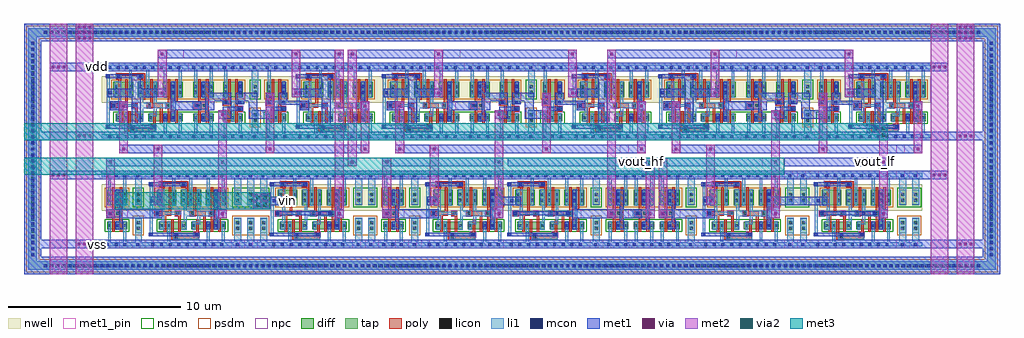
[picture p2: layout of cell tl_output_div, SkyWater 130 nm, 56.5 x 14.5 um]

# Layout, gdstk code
from math import pi, radians
import gdstk
lib = gdstk.Library(unit=1e-6, precision=1e-09)
def R(c, l, rs):  # rectangles x0, y0, x1, y1
    for r in rs: c.add(gdstk.rectangle(r[:2], r[2:], *l))
def A(c, l, x, y, w, h, nx, ny, dx, dy):  # array of equal rectangles
    R(c, l, [(x+i*dx, y+j*dy, x+i*dx+w, y+j*dy+h) for i in range(nx) for j in range(ny)])
nwell = (64, 20)
diff = (65, 20)
tap = (65, 44)
poly = (66, 20)
licon = (66, 44)
li1 = (67, 20)
mcon = (67, 44)
met1_pin = (68, 16)
met1 = (68, 20)
via = (68, 44)
met2 = (69, 20)
via2 = (69, 44)
met3 = (70, 20)
nsdm = (93, 44)
psdm = (94, 20)
npc = (95, 20)

sky130_fd_pr__pfet_01v8_ = lib.new_cell('sky130_fd_pr__pfet_01v8_scc_inv_m1')
R(sky130_fd_pr__pfet_01v8_, nwell, [(6.85,-4.65,8.38,-3.13)])
R(sky130_fd_pr__pfet_01v8_, diff, [(7.03,-4.34,8.2,-3.44)])
R(sky130_fd_pr__pfet_01v8_, poly, [(7.32,-4.565,7.91,-4.415), (7.32,-4.415,7.47,-3.31), (7.76,-4.415,7.91,-3.31)])
A(sky130_fd_pr__pfet_01v8_, licon, 7.09, -4.145, 0.17, 0.17, 3, 2, 0.44, 0.34)
A(sky130_fd_pr__pfet_01v8_, li1, 7.09, -4.36, 0.17, 0.94, 3, 1, 0.44, 0)
R(sky130_fd_pr__pfet_01v8_, mcon, [(7.53,-4.155,7.7,-3.985), (7.53,-3.795,7.7,-3.625)])
R(sky130_fd_pr__pfet_01v8_, met1, [(7.5,-4.34,7.73,-3.44)])
R(sky130_fd_pr__pfet_01v8_, psdm, [(6.905,-4.465,8.325,-3.315)])
sky130_fd_pr__pfet_01v8_.add(gdstk.Label('D0', (7.615,-3.89), layer=67, texttype=5))
sky130_fd_pr__pfet_01v8_.add(gdstk.Label('S0', (7.175,-3.89), layer=67, texttype=5))
sky130_fd_pr__pfet_01v8_.add(gdstk.Label('D1', (7.615,-3.89), layer=67, texttype=5))
sky130_fd_pr__pfet_01v8_.add(gdstk.Label('S1', (8.055,-3.89), layer=67, texttype=5))

sky130_fd_pr__nfet_01v8_ = lib.new_cell('sky130_fd_pr__nfet_01v8_scc_inv_m2')
R(sky130_fd_pr__nfet_01v8_, diff, [(7.265,-4.22,8.435,-3.77)])
R(sky130_fd_pr__nfet_01v8_, poly, [(7.555,-4.35,7.705,-3.695), (7.995,-4.35,8.145,-3.695), (7.555,-3.695,8.145,-3.545)])
A(sky130_fd_pr__nfet_01v8_, licon, 7.325, -4.08, 0.17, 0.17, 3, 1, 0.44, 0)
A(sky130_fd_pr__nfet_01v8_, li1, 7.325, -4.24, 0.17, 0.49, 3, 1, 0.44, 0)
R(sky130_fd_pr__nfet_01v8_, mcon, [(7.765,-4.08,7.935,-3.91)])
R(sky130_fd_pr__nfet_01v8_, met1, [(7.735,-4.22,7.965,-3.77)])
R(sky130_fd_pr__nfet_01v8_, nsdm, [(7.14,-4.345,8.56,-3.645)])
sky130_fd_pr__nfet_01v8_.add(gdstk.Label('D0', (7.85,-3.995), layer=67, texttype=5))
sky130_fd_pr__nfet_01v8_.add(gdstk.Label('S0', (7.41,-3.995), layer=67, texttype=5))
sky130_fd_pr__nfet_01v8_.add(gdstk.Label('D1', (7.85,-3.995), layer=67, texttype=5))
sky130_fd_pr__nfet_01v8_.add(gdstk.Label('S1', (8.29,-3.995), layer=67, texttype=5))

sc_not = lib.new_cell('sc_not')
R(sc_not, nwell, [(2.75,-3.815,4.5,-2.295)])
R(sc_not, poly, [(3.075,-4.23,3.935,-3.73)])
R(sc_not, licon, [(3.25,-4.065,3.42,-3.895), (3.59,-4.065,3.76,-3.895)])
R(sc_not, li1, [(2.75,-5.885,4.5,-5.635), (3.115,-5.635,3.285,-4.925), (3.995,-5.635,4.165,-4.925), (3.03,-4.225,3.885,-4.145), (3,-4.145,3.885,-3.815), (3.03,-3.815,3.885,-3.735), (3.115,-2.585,3.285,-1.875), (3.995,-2.585,4.165,-1.875), (2.75,-1.875,4.5,-1.625)])
A(sc_not, mcon, 3, -5.875, 0.17, 0.17, 3, 2, 0.5, 4)
R(sc_not, mcon, [(3.165,-4.065,3.335,-3.895)])
R(sc_not, met1_pin, [(2.75,-6,3.25,-5.5), (3,-4.25,3.5,-3.75), (3.75,-4.25,4.25,-3.75), (2.75,-2,3.25,-1.5)])
R(sc_not, met1, [(2.75,-6,4.5,-5.5), (3.75,-4.905,3.98,-4.25), (3,-4.25,3.5,-3.75), (3.75,-4.25,4.25,-3.75), (3.75,-3.75,3.98,-2.605), (2.75,-2,4.5,-1.5)])
R(sc_not, npc, [(3.15,-4.165,3.86,-3.795)])
sc_not.add(gdstk.Reference(sky130_fd_pr__pfet_01v8_, (-3.975,0.835)))
sc_not.add(gdstk.Reference(sky130_fd_pr__nfet_01v8_, (-4.21,-0.685)))
sc_not.add(gdstk.Label('vdd', (3,-1.75), layer=68, texttype=5))
sc_not.add(gdstk.Label('vss', (3,-5.75), layer=68, texttype=5))
sc_not.add(gdstk.Label('x', (3.25,-4), layer=68, texttype=5))
sc_not.add(gdstk.Label('y', (4,-4), layer=68, texttype=5))

c_sky130_fd_pr__nfet_01v8_ = lib.new_cell('sky130_fd_pr__nfet_01v8_sc_dff_m9')
R(c_sky130_fd_pr__nfet_01v8_, diff, [(-0.325,-0.225,0.365,0.225)])
R(c_sky130_fd_pr__nfet_01v8_, poly, [(-0.075,-0.355,0.075,0.355)])
R(c_sky130_fd_pr__nfet_01v8_, licon, [(0.135,-0.085,0.305,0.085)])
R(c_sky130_fd_pr__nfet_01v8_, li1, [(0.135,-0.245,0.305,0.245)])
R(c_sky130_fd_pr__nfet_01v8_, mcon, [(0.135,-0.085,0.305,0.085)])
R(c_sky130_fd_pr__nfet_01v8_, met1, [(0.105,-0.225,0.335,0.225)])
R(c_sky130_fd_pr__nfet_01v8_, nsdm, [(-0.45,-0.35,0.49,0.35)])
c_sky130_fd_pr__nfet_01v8_.add(gdstk.Label('D', (-0.22,0), layer=65, texttype=6))
c_sky130_fd_pr__nfet_01v8_.add(gdstk.Label('S', (0.22,0), layer=67, texttype=5))

c_sky130_fd_pr__nfet_01v8__ = lib.new_cell('sky130_fd_pr__nfet_01v8_sc_dff_m8')
R(c_sky130_fd_pr__nfet_01v8__, diff, [(-0.365,-0.225,0.325,0.225)])
R(c_sky130_fd_pr__nfet_01v8__, poly, [(-0.075,-0.355,0.075,0.355)])
R(c_sky130_fd_pr__nfet_01v8__, licon, [(-0.305,-0.085,-0.135,0.085)])
R(c_sky130_fd_pr__nfet_01v8__, li1, [(-0.305,-0.245,-0.135,0.245)])
R(c_sky130_fd_pr__nfet_01v8__, nsdm, [(-0.49,-0.35,0.45,0.35)])
c_sky130_fd_pr__nfet_01v8__.add(gdstk.Label('D', (-0.22,0), layer=67, texttype=5))
c_sky130_fd_pr__nfet_01v8__.add(gdstk.Label('S', (0.22,0), layer=65, texttype=6))

c_sky130_fd_pr__pfet_01v8_ = lib.new_cell('sky130_fd_pr__pfet_01v8_sc_dff_m7')
R(c_sky130_fd_pr__pfet_01v8_, nwell, [(-0.545,-0.76,0.545,0.76)])
R(c_sky130_fd_pr__pfet_01v8_, diff, [(-0.365,-0.45,0.365,0.45)])
R(c_sky130_fd_pr__pfet_01v8_, poly, [(-0.075,-0.58,0.075,0.58)])
R(c_sky130_fd_pr__pfet_01v8_, licon, [(-0.305,-0.255,-0.135,-0.085), (0.135,-0.255,0.305,-0.085), (-0.305,0.085,-0.135,0.255), (0.135,0.085,0.305,0.255)])
R(c_sky130_fd_pr__pfet_01v8_, li1, [(-0.305,-0.47,-0.135,0.47), (0.135,-0.47,0.305,0.47)])
R(c_sky130_fd_pr__pfet_01v8_, psdm, [(-0.49,-0.575,0.49,0.575)])
c_sky130_fd_pr__pfet_01v8_.add(gdstk.Label('D', (-0.22,0), layer=67, texttype=5))
c_sky130_fd_pr__pfet_01v8_.add(gdstk.Label('S', (0.22,0), layer=67, texttype=5))

c_sky130_fd_pr__nfet_01v8___ = lib.new_cell('sky130_fd_pr__nfet_01v8_sc_dff_m6')
R(c_sky130_fd_pr__nfet_01v8___, diff, [(-0.325,-0.225,0.365,0.225)])
R(c_sky130_fd_pr__nfet_01v8___, poly, [(-0.075,-0.355,0.075,0.355)])
R(c_sky130_fd_pr__nfet_01v8___, licon, [(0.135,-0.085,0.305,0.085)])
R(c_sky130_fd_pr__nfet_01v8___, li1, [(0.135,-0.245,0.305,0.245)])
R(c_sky130_fd_pr__nfet_01v8___, nsdm, [(-0.45,-0.35,0.49,0.35)])
c_sky130_fd_pr__nfet_01v8___.add(gdstk.Label('D', (-0.22,0), layer=65, texttype=6))
c_sky130_fd_pr__nfet_01v8___.add(gdstk.Label('S', (0.22,0), layer=67, texttype=5))

c_sky130_fd_pr__nfet_01v8____ = lib.new_cell('sky130_fd_pr__nfet_01v8_sc_dff_m5')
R(c_sky130_fd_pr__nfet_01v8____, diff, [(-0.365,-0.225,0.325,0.225)])
R(c_sky130_fd_pr__nfet_01v8____, poly, [(-0.075,-0.355,0.075,0.355)])
R(c_sky130_fd_pr__nfet_01v8____, licon, [(-0.305,-0.085,-0.135,0.085)])
R(c_sky130_fd_pr__nfet_01v8____, li1, [(-0.305,-0.245,-0.135,0.245)])
R(c_sky130_fd_pr__nfet_01v8____, nsdm, [(-0.49,-0.35,0.45,0.35)])
c_sky130_fd_pr__nfet_01v8____.add(gdstk.Label('D', (-0.22,0), layer=67, texttype=5))
c_sky130_fd_pr__nfet_01v8____.add(gdstk.Label('S', (0.22,0), layer=65, texttype=6))

c_sky130_fd_pr__pfet_01v8__ = lib.new_cell('sky130_fd_pr__pfet_01v8_sc_dff_m4')
R(c_sky130_fd_pr__pfet_01v8__, nwell, [(-0.545,-0.76,0.545,0.76)])
R(c_sky130_fd_pr__pfet_01v8__, diff, [(-0.365,-0.45,0.365,0.45)])
R(c_sky130_fd_pr__pfet_01v8__, poly, [(-0.075,-0.58,0.075,0.58)])
R(c_sky130_fd_pr__pfet_01v8__, licon, [(-0.305,-0.255,-0.135,-0.085), (0.135,-0.255,0.305,-0.085), (-0.305,0.085,-0.135,0.255), (0.135,0.085,0.305,0.255)])
R(c_sky130_fd_pr__pfet_01v8__, li1, [(-0.305,-0.47,-0.135,0.47), (0.135,-0.47,0.305,0.47)])
R(c_sky130_fd_pr__pfet_01v8__, psdm, [(-0.49,-0.575,0.49,0.575)])
c_sky130_fd_pr__pfet_01v8__.add(gdstk.Label('D', (-0.22,0), layer=67, texttype=5))
c_sky130_fd_pr__pfet_01v8__.add(gdstk.Label('S', (0.22,0), layer=67, texttype=5))

c_sky130_fd_pr__nfet_01v8_____ = lib.new_cell('sky130_fd_pr__nfet_01v8_sc_dff_m3')
R(c_sky130_fd_pr__nfet_01v8_____, diff, [(4.75,-7.11,5.48,-6.66)])
R(c_sky130_fd_pr__nfet_01v8_____, poly, [(5.04,-7.24,5.19,-6.53)])
R(c_sky130_fd_pr__nfet_01v8_____, licon, [(4.81,-6.97,4.98,-6.8), (5.25,-6.97,5.42,-6.8)])
R(c_sky130_fd_pr__nfet_01v8_____, li1, [(4.81,-7.13,4.98,-6.64), (5.25,-7.13,5.42,-6.64)])
R(c_sky130_fd_pr__nfet_01v8_____, nsdm, [(4.625,-7.235,5.605,-6.535)])
c_sky130_fd_pr__nfet_01v8_____.add(gdstk.Label('D', (4.895,-6.885), layer=67, texttype=5))
c_sky130_fd_pr__nfet_01v8_____.add(gdstk.Label('S', (5.335,-6.885), layer=67, texttype=5))

c_sky130_fd_pr__pfet_01v8___ = lib.new_cell('sky130_fd_pr__pfet_01v8_sc_dff_m2')
R(c_sky130_fd_pr__pfet_01v8___, nwell, [(-0.545,-0.76,0.505,0.76)])
R(c_sky130_fd_pr__pfet_01v8___, diff, [(-0.365,-0.45,0.325,0.45)])
R(c_sky130_fd_pr__pfet_01v8___, poly, [(-0.075,-0.58,0.075,0.58)])
R(c_sky130_fd_pr__pfet_01v8___, licon, [(-0.305,-0.255,-0.135,-0.085), (-0.305,0.085,-0.135,0.255)])
R(c_sky130_fd_pr__pfet_01v8___, li1, [(-0.305,-0.47,-0.135,0.47)])
R(c_sky130_fd_pr__pfet_01v8___, psdm, [(-0.49,-0.575,0.45,0.575)])
c_sky130_fd_pr__pfet_01v8___.add(gdstk.Label('D', (-0.22,0), layer=67, texttype=5))
c_sky130_fd_pr__pfet_01v8___.add(gdstk.Label('S', (0.22,0), layer=65, texttype=6))

c_sky130_fd_pr__pfet_01v8____ = lib.new_cell('sky130_fd_pr__pfet_01v8_sc_dff_m1')
R(c_sky130_fd_pr__pfet_01v8____, nwell, [(-0.545,-0.76,0.545,0.76)])
R(c_sky130_fd_pr__pfet_01v8____, diff, [(-0.325,-0.45,0.365,0.45)])
R(c_sky130_fd_pr__pfet_01v8____, poly, [(-0.075,-0.58,0.075,0.58)])
R(c_sky130_fd_pr__pfet_01v8____, licon, [(0.135,-0.255,0.305,-0.085), (0.135,0.085,0.305,0.255)])
R(c_sky130_fd_pr__pfet_01v8____, li1, [(0.135,-0.47,0.305,0.47)])
R(c_sky130_fd_pr__pfet_01v8____, psdm, [(-0.45,-0.575,0.49,0.575)])
c_sky130_fd_pr__pfet_01v8____.add(gdstk.Label('D', (-0.22,0), layer=65, texttype=6))
c_sky130_fd_pr__pfet_01v8____.add(gdstk.Label('S', (0.22,0), layer=67, texttype=5))

fd_div_2 = lib.new_cell('fd_div_2')
R(fd_div_2, nwell, [(-1,-7.065,4,-5.545)])
R(fd_div_2, poly, [(0.53,-8.765,2.12,-8.495), (0.53,-8.495,0.68,-8.285), (1.85,-8.495,2.12,-8.285), (0.09,-7.575,0.24,-7.365), (0.93,-7.575,1.08,-7.365), (2.37,-7.575,2.52,-7.365), (2.81,-7.48,3.06,-7.395), (2.73,-7.395,3.06,-7.065), (-0.46,-7.365,0.52,-7.095), (0.74,-7.365,1.08,-7.095), (1.6,-7.365,2.52,-7.095), (0.37,-7.095,0.52,-6.885), (1.81,-7.095,1.96,-6.885), (2.81,-7.065,3.06,-6.98), (1.37,-5.745,1.52,-5.7), (-0.03,-5.725,0.12,-5.7), (-0.15,-5.7,0.12,-5.515), (1.11,-5.7,1.52,-5.515), (-0.15,-5.515,1.52,-5.365)])
R(fd_div_2, licon, [(0.72,-8.715,0.89,-8.545), (1.9,-8.535,2.07,-8.365), (-0.38,-7.315,-0.21,-7.145), (0.82,-7.315,0.99,-7.145), (1.68,-7.315,1.85,-7.145), (2.78,-7.315,2.95,-7.145), (-0.1,-5.62,0.07,-5.45), (1.16,-5.62,1.33,-5.45)])
A(fd_div_2, li1, 0.58, -5.835, 0.17, 0.71, 3, 1, 1, 0)
R(fd_div_2, li1, [(-1,-9.135,4,-8.885), (0.3,-8.885,0.47,-8.175), (2.58,-8.885,2.75,-8.175), (3.46,-8.885,3.63,-8.175), (0.64,-8.715,2.15,-8.365), (-0.72,-8.565,-0.55,-6.75), (-0.04,-8.175,0.13,-7.315), (1.24,-8.175,1.41,-7.39), (3.12,-8.175,3.29,-5.835), (1.91,-7.855,2.19,-7.685), (2.02,-7.685,2.19,-7.395), (-0.38,-7.395,-0.21,-7.065), (1.68,-7.395,1.85,-7.39), (2.02,-7.395,2.95,-7.065), (1.24,-7.39,1.85,-7.065), (-0.04,-7.315,1.07,-7.145), (-0.04,-7.145,0.13,-6.775), (1.24,-7.065,1.41,-5.835), (2.02,-7.065,2.19,-6.775), (-0.09,-6.775,0.13,-5.835), (-0.72,-6.75,-0.43,-6.25), (-0.72,-6.25,-0.55,-5.42), (3.46,-5.835,3.63,-5.125), (-0.18,-5.62,0.15,-5.45), (1.08,-5.62,1.41,-5.45), (-1,-5.125,4,-4.875)])
A(fd_div_2, mcon, -0.625, -9.125, 0.17, 0.17, 9, 2, 0.5, 4)
R(fd_div_2, mcon, [(-0.72,-8.535,-0.55,-8.365), (0.72,-8.535,0.89,-8.365), (1.9,-8.535,2.07,-8.365), (-0.38,-7.315,-0.21,-7.145), (2.02,-7.315,2.19,-7.145), (2.62,-7.315,2.79,-7.145), (-0.6,-6.585,-0.43,-6.415), (-0.72,-5.62,-0.55,-5.45), (-0.1,-5.62,0.07,-5.45), (1.16,-5.62,1.33,-5.45)])
R(fd_div_2, met1_pin, [(-1,-9.25,-0.5,-8.75), (3,-7.5,3.5,-7), (-0.5,-6.75,0,-6.25), (-1,-5.25,-0.5,-4.75)])
R(fd_div_2, met1, [(-1,-9.25,4,-8.75), (-0.78,-8.565,2.13,-8.335), (2.99,-7.705,3.22,-7.5), (2.99,-7.5,3.5,-7), (-0.44,-7.345,2.85,-7.115), (2.99,-7,3.22,-6.755), (-0.66,-6.75,0,-6.25), (-0.78,-5.65,1.41,-5.42), (-1,-5.25,4,-4.75)])
R(fd_div_2, nsdm, [(1.495,-8.28,1.555,-7.58)])
R(fd_div_2, psdm, [(0.935,-6.88,0.955,-5.73), (2.375,-6.88,2.395,-5.73)])
R(fd_div_2, npc, [(0.62,-8.815,0.99,-8.445), (1.8,-8.635,2.17,-8.265), (-0.48,-7.415,-0.11,-7.045), (0.72,-7.415,1.09,-7.045), (1.58,-7.415,1.95,-7.045), (2.68,-7.415,3.05,-7.045), (-0.2,-5.72,0.17,-5.35), (1.06,-5.72,1.43,-5.35)])
fd_div_2.add(gdstk.Reference(sky130_fd_pr__nfet_01v8_, (-4.745,-3.935)))
fd_div_2.add(gdstk.Reference(sky130_fd_pr__pfet_01v8_, (-4.51,-2.415)))
fd_div_2.add(gdstk.Reference(c_sky130_fd_pr__nfet_01v8_, (2.445,-7.93)))
fd_div_2.add(gdstk.Reference(c_sky130_fd_pr__nfet_01v8__, (2.045,-7.93)))
fd_div_2.add(gdstk.Reference(c_sky130_fd_pr__pfet_01v8_, (1.885,-6.305), rotation=pi))
fd_div_2.add(gdstk.Reference(c_sky130_fd_pr__nfet_01v8___, (0.605,-7.93), rotation=pi))
fd_div_2.add(gdstk.Reference(c_sky130_fd_pr__nfet_01v8____, (1.005,-7.93), rotation=pi))
fd_div_2.add(gdstk.Reference(c_sky130_fd_pr__pfet_01v8__, (1.445,-6.305)))
fd_div_2.add(gdstk.Reference(c_sky130_fd_pr__nfet_01v8_____, (-4.95,-1.045)))
fd_div_2.add(gdstk.Reference(c_sky130_fd_pr__pfet_01v8___, (0.045,-6.305)))
fd_div_2.add(gdstk.Reference(c_sky130_fd_pr__pfet_01v8____, (0.445,-6.305)))
fd_div_2.add(gdstk.Label('vdd', (-0.75,-5), layer=68, texttype=5))
fd_div_2.add(gdstk.Label('vss', (-0.75,-9), layer=68, texttype=5))
fd_div_2.add(gdstk.Label('vin', (-0.25,-6.5), layer=68, texttype=5))
fd_div_2.add(gdstk.Label('vout', (3.25,-7.25), layer=68, texttype=5))

sc_dff = lib.new_cell('sc_dff')
R(sc_dff, nwell, [(2.25,-6.815,7.25,-5.295)])
R(sc_dff, poly, [(3.78,-8.515,5.37,-8.245), (3.78,-8.245,3.93,-8.035), (5.1,-8.245,5.37,-8.035), (3.34,-7.325,3.49,-7.115), (4.18,-7.325,4.33,-7.115), (5.62,-7.325,5.77,-7.115), (6.06,-7.23,6.31,-7.145), (5.98,-7.145,6.31,-6.815), (2.79,-7.115,3.77,-6.845), (3.99,-7.115,4.33,-6.845), (4.85,-7.115,5.77,-6.845), (3.62,-6.845,3.77,-6.635), (5.06,-6.845,5.21,-6.635), (6.06,-6.815,6.31,-6.73), (4.62,-5.495,4.77,-5.45), (3.22,-5.475,3.37,-5.45), (3.1,-5.45,3.37,-5.265), (4.36,-5.45,4.77,-5.265), (3.1,-5.265,4.77,-5.115)])
R(sc_dff, licon, [(3.97,-8.465,4.14,-8.295), (5.15,-8.285,5.32,-8.115), (2.87,-7.065,3.04,-6.895), (4.07,-7.065,4.24,-6.895), (4.93,-7.065,5.1,-6.895), (6.03,-7.065,6.2,-6.895), (3.15,-5.37,3.32,-5.2), (4.41,-5.37,4.58,-5.2)])
A(sc_dff, li1, 3.83, -5.585, 0.17, 0.71, 3, 1, 1, 0)
R(sc_dff, li1, [(2.25,-8.885,7.25,-8.635), (3.55,-8.635,3.72,-7.925), (5.83,-8.635,6,-7.925), (6.71,-8.635,6.88,-7.925), (3.89,-8.465,5.4,-8.115), (2.53,-8.315,2.7,-6.5), (3.21,-7.925,3.38,-7.065), (4.49,-7.925,4.66,-7.14), (6.37,-7.925,6.54,-5.585), (5.16,-7.605,5.44,-7.435), (5.27,-7.435,5.44,-7.145), (2.87,-7.145,3.04,-6.815), (4.93,-7.145,5.1,-7.14), (5.27,-7.145,6.2,-6.815), (4.49,-7.14,5.1,-6.815), (3.21,-7.065,4.32,-6.895), (3.21,-6.895,3.38,-6.525), (4.49,-6.815,4.66,-5.585), (5.27,-6.815,5.44,-6.525), (3.16,-6.525,3.38,-5.585), (2.53,-6.5,2.82,-6), (2.53,-6,2.7,-5.17), (6.71,-5.585,6.88,-4.875), (3.07,-5.37,3.4,-5.2), (4.33,-5.37,4.66,-5.2), (2.25,-4.875,7.25,-4.625)])
A(sc_dff, mcon, 2.625, -8.875, 0.17, 0.17, 9, 2, 0.5, 4)
R(sc_dff, mcon, [(2.53,-8.285,2.7,-8.115), (3.97,-8.285,4.14,-8.115), (5.15,-8.285,5.32,-8.115), (2.87,-7.065,3.04,-6.895), (2.65,-6.335,2.82,-6.165), (2.53,-5.37,2.7,-5.2), (3.15,-5.37,3.32,-5.2), (4.41,-5.37,4.58,-5.2)])
R(sc_dff, met1_pin, [(2.25,-9,2.75,-8.5), (2.75,-7.25,3.25,-6.75), (6.25,-7.25,6.75,-6.75), (2.75,-6.5,3.25,-6), (2.25,-5,2.75,-4.5)])
R(sc_dff, met1, [(2.25,-9,7.25,-8.5), (2.47,-8.315,5.38,-8.085), (6.24,-7.455,6.47,-7.25), (2.75,-7.25,3.25,-6.75), (6.24,-7.25,6.75,-6.75), (6.24,-6.75,6.47,-6.505), (2.59,-6.5,3.25,-6), (2.47,-5.4,4.66,-5.17), (2.25,-5,7.25,-4.5)])
R(sc_dff, nsdm, [(4.745,-8.03,4.805,-7.33)])
R(sc_dff, psdm, [(4.185,-6.63,4.205,-5.48), (5.625,-6.63,5.645,-5.48)])
R(sc_dff, npc, [(3.87,-8.565,4.24,-8.195), (5.05,-8.385,5.42,-8.015), (2.77,-7.165,3.14,-6.795), (3.97,-7.165,4.34,-6.795), (4.83,-7.165,5.2,-6.795), (5.93,-7.165,6.3,-6.795), (3.05,-5.47,3.42,-5.1), (4.31,-5.47,4.68,-5.1)])
sc_dff.add(gdstk.Reference(sky130_fd_pr__nfet_01v8_, (-1.495,-3.685)))
sc_dff.add(gdstk.Reference(sky130_fd_pr__pfet_01v8_, (-1.26,-2.165)))
sc_dff.add(gdstk.Reference(c_sky130_fd_pr__nfet_01v8_, (5.695,-7.68)))
sc_dff.add(gdstk.Reference(c_sky130_fd_pr__nfet_01v8__, (5.295,-7.68)))
sc_dff.add(gdstk.Reference(c_sky130_fd_pr__pfet_01v8_, (5.135,-6.055), rotation=pi))
sc_dff.add(gdstk.Reference(c_sky130_fd_pr__nfet_01v8___, (3.855,-7.68), rotation=pi))
sc_dff.add(gdstk.Reference(c_sky130_fd_pr__nfet_01v8____, (4.255,-7.68), rotation=pi))
sc_dff.add(gdstk.Reference(c_sky130_fd_pr__pfet_01v8__, (4.695,-6.055)))
sc_dff.add(gdstk.Reference(c_sky130_fd_pr__nfet_01v8_____, (-1.7,-0.795)))
sc_dff.add(gdstk.Reference(c_sky130_fd_pr__pfet_01v8___, (3.295,-6.055)))
sc_dff.add(gdstk.Reference(c_sky130_fd_pr__pfet_01v8____, (3.695,-6.055)))
sc_dff.add(gdstk.Label('vdd', (2.5,-4.75), layer=68, texttype=5))
sc_dff.add(gdstk.Label('vss', (2.5,-8.75), layer=68, texttype=5))
sc_dff.add(gdstk.Label('d', (3,-7), layer=68, texttype=5))
sc_dff.add(gdstk.Label('clk', (3,-6.25), layer=68, texttype=5))
sc_dff.add(gdstk.Label('q', (6.5,-7), layer=68, texttype=5))

c_sky130_fd_pr__nfet_01v8______ = lib.new_cell('sky130_fd_pr__nfet_01v8_sc_nor2_m4')
R(c_sky130_fd_pr__nfet_01v8______, diff, [(-0.365,-0.225,0.365,0.225)])
R(c_sky130_fd_pr__nfet_01v8______, poly, [(-0.075,-0.355,0.075,0.355)])
R(c_sky130_fd_pr__nfet_01v8______, licon, [(-0.305,-0.085,-0.135,0.085), (0.135,-0.085,0.305,0.085)])
R(c_sky130_fd_pr__nfet_01v8______, li1, [(-0.305,-0.245,-0.135,0.245), (0.135,-0.245,0.305,0.245)])
R(c_sky130_fd_pr__nfet_01v8______, nsdm, [(-0.49,-0.35,0.49,0.35)])
c_sky130_fd_pr__nfet_01v8______.add(gdstk.Label('D', (-0.22,0), layer=67, texttype=5))
c_sky130_fd_pr__nfet_01v8______.add(gdstk.Label('S', (0.22,0), layer=67, texttype=5))

c_sky130_fd_pr__nfet_01v8_______ = lib.new_cell('sky130_fd_pr__nfet_01v8_sc_nor2_m3')
R(c_sky130_fd_pr__nfet_01v8_______, diff, [(-0.365,-0.225,0.365,0.225)])
R(c_sky130_fd_pr__nfet_01v8_______, poly, [(-0.075,-0.355,0.075,0.355)])
R(c_sky130_fd_pr__nfet_01v8_______, licon, [(-0.305,-0.085,-0.135,0.085), (0.135,-0.085,0.305,0.085)])
R(c_sky130_fd_pr__nfet_01v8_______, li1, [(-0.305,-0.245,-0.135,0.245), (0.135,-0.245,0.305,0.245)])
R(c_sky130_fd_pr__nfet_01v8_______, nsdm, [(-0.49,-0.35,0.49,0.35)])
c_sky130_fd_pr__nfet_01v8_______.add(gdstk.Label('D', (-0.22,0), layer=67, texttype=5))
c_sky130_fd_pr__nfet_01v8_______.add(gdstk.Label('S', (0.22,0), layer=67, texttype=5))

c_sky130_fd_pr__pfet_01v8_____ = lib.new_cell('sky130_fd_pr__pfet_01v8_sc_nor2_m2')
R(c_sky130_fd_pr__pfet_01v8_____, nwell, [(-0.545,-0.76,0.505,0.76)])
R(c_sky130_fd_pr__pfet_01v8_____, diff, [(-0.365,-0.45,0.325,0.45)])
R(c_sky130_fd_pr__pfet_01v8_____, poly, [(-0.075,-0.58,0.075,0.58)])
R(c_sky130_fd_pr__pfet_01v8_____, licon, [(-0.305,-0.255,-0.135,-0.085), (-0.305,0.085,-0.135,0.255)])
R(c_sky130_fd_pr__pfet_01v8_____, li1, [(-0.305,-0.47,-0.135,0.47)])
R(c_sky130_fd_pr__pfet_01v8_____, mcon, [(-0.305,-0.265,-0.135,-0.095), (-0.305,0.095,-0.135,0.265)])
R(c_sky130_fd_pr__pfet_01v8_____, met1, [(-0.335,-0.45,-0.105,0.45)])
R(c_sky130_fd_pr__pfet_01v8_____, psdm, [(-0.49,-0.575,0.45,0.575)])
c_sky130_fd_pr__pfet_01v8_____.add(gdstk.Label('D', (-0.22,0), layer=67, texttype=5))
c_sky130_fd_pr__pfet_01v8_____.add(gdstk.Label('S', (0.22,0), layer=65, texttype=6))

c_sky130_fd_pr__pfet_01v8______ = lib.new_cell('sky130_fd_pr__pfet_01v8_sc_nor2_m1')
R(c_sky130_fd_pr__pfet_01v8______, nwell, [(-0.505,-0.76,0.545,0.76)])
R(c_sky130_fd_pr__pfet_01v8______, diff, [(-0.325,-0.45,0.365,0.45)])
R(c_sky130_fd_pr__pfet_01v8______, poly, [(-0.075,-0.58,0.075,0.58)])
R(c_sky130_fd_pr__pfet_01v8______, licon, [(0.135,-0.255,0.305,-0.085), (0.135,0.085,0.305,0.255)])
R(c_sky130_fd_pr__pfet_01v8______, li1, [(0.135,-0.47,0.305,0.47)])
R(c_sky130_fd_pr__pfet_01v8______, psdm, [(-0.45,-0.575,0.49,0.575)])
c_sky130_fd_pr__pfet_01v8______.add(gdstk.Label('D', (-0.22,0), layer=65, texttype=6))
c_sky130_fd_pr__pfet_01v8______.add(gdstk.Label('S', (0.22,0), layer=67, texttype=5))

sc_nor2 = lib.new_cell('sc_nor2')
R(sc_nor2, nwell, [(1.75,-5.815,3.5,-4.295)])
R(sc_nor2, poly, [(2.73,-6.345,3.14,-6.015), (2.29,-6.325,2.44,-5.99), (2.73,-6.015,2.88,-5.635), (2.03,-5.99,2.48,-5.635)])
R(sc_nor2, licon, [(2.92,-6.265,3.09,-6.095), (2.08,-5.91,2.25,-5.74)])
R(sc_nor2, li1, [(1.75,-7.885,3.5,-7.635), (2.06,-7.635,2.23,-6.925), (2.94,-7.635,3.11,-6.925), (2.5,-6.435,2.67,-5.865), (2.84,-6.265,3.17,-6.095), (2,-5.91,2.33,-5.695), (2.5,-5.865,3.19,-5.695), (2.1,-4.585,2.27,-3.875), (1.75,-3.875,3.5,-3.625)])
A(sc_nor2, mcon, 2, -7.875, 0.17, 0.17, 3, 2, 0.5, 4)
R(sc_nor2, mcon, [(2.88,-6.265,3.05,-6.095), (2.11,-5.865,2.28,-5.695), (2.915,-5.865,3.085,-5.695)])
R(sc_nor2, met1_pin, [(1.75,-8,2.25,-7.5), (2,-6.75,2.5,-6.25), (2,-5.75,2.5,-5.25), (2.75,-5.75,3.25,-5.25), (1.75,-4,2.25,-3.5)])
R(sc_nor2, met1, [(1.75,-8,3.5,-7.5), (2,-6.75,2.5,-6.295), (2,-6.295,3.15,-6.065), (2,-5.895,2.5,-5.25), (2.75,-5.895,3.25,-5.25), (1.75,-4,3.5,-3.5)])
R(sc_nor2, npc, [(2.82,-6.365,3.19,-5.995), (1.98,-6.01,2.35,-5.64)])
sc_nor2.add(gdstk.Reference(c_sky130_fd_pr__nfet_01v8______, (2.805,-6.68)))
sc_nor2.add(gdstk.Reference(c_sky130_fd_pr__nfet_01v8_______, (2.365,-6.68), rotation=pi))
sc_nor2.add(gdstk.Reference(c_sky130_fd_pr__pfet_01v8_____, (2.805,-5.055), rotation=pi))
sc_nor2.add(gdstk.Reference(c_sky130_fd_pr__pfet_01v8______, (2.405,-5.055), rotation=pi))
sc_nor2.add(gdstk.Label('vdd', (2,-3.75), layer=68, texttype=5))
sc_nor2.add(gdstk.Label('vss', (2,-7.75), layer=68, texttype=5))
sc_nor2.add(gdstk.Label('a', (2.25,-5.5), layer=68, texttype=5))
sc_nor2.add(gdstk.Label('b', (2.25,-6.5), layer=68, texttype=5))
sc_nor2.add(gdstk.Label('y', (3,-5.5), layer=68, texttype=5))

sc_body_conn = lib.new_cell('sc_body_conn')
R(sc_body_conn, nwell, [(-0.75,2.185,0,3.705)])
R(sc_body_conn, tap, [(-0.57,0.87,-0.18,1.77), (-0.57,2.495,-0.18,3.395)])
R(sc_body_conn, licon, [(-0.46,1.065,-0.29,1.235), (-0.46,1.405,-0.29,1.575), (-0.46,2.69,-0.29,2.86), (-0.46,3.03,-0.29,3.2)])
R(sc_body_conn, li1, [(-0.75,0.115,0,0.365), (-0.57,0.365,-0.18,1.73), (-0.57,2.535,-0.18,4.125), (-0.75,4.125,0,4.375)])
R(sc_body_conn, mcon, [(-0.5,0.125,-0.33,0.295), (-0.5,4.125,-0.33,4.295)])
R(sc_body_conn, met1_pin, [(-0.75,0,-0.25,0.5), (-0.75,4,-0.25,4.5)])
R(sc_body_conn, met1, [(-0.75,0,0,0.5), (-0.75,4,0,4.5)])
R(sc_body_conn, nsdm, [(-0.695,2.37,-0.055,3.52)])
R(sc_body_conn, psdm, [(-0.695,0.745,-0.055,1.895)])
sc_body_conn.add(gdstk.Label('vdd', (-0.5,4.25), layer=68, texttype=5))
sc_body_conn.add(gdstk.Label('vss', (-0.5,0.25), layer=68, texttype=5))

fd_dmod_2_3 = lib.new_cell('fd_dmod_2_3')
R(fd_dmod_2_3, met1_pin, [(15.5,-8.75,16,-8.25), (2,-8,2.5,-7.5), (8.5,-6.75,9,-6.25), (2,-4,2.5,-3.5), (5.75,-3.25,6.25,-2.75)])
R(fd_dmod_2_3, met1, [(2.5,-8.75,17,-8.25), (2,-8,2.5,-7.5), (3.25,-7.25,3.75,-5.5), (14.25,-7.25,14.75,-5.5), (8.5,-6.75,9,-6.25), (10,-6.75,11,-6.25), (2,-6.25,3,-5.75), (6,-6.25,6.75,-5.75), (10,-6.25,10.5,-5.75), (16.5,-6.25,17,-5.75), (11.75,-5.925,13.5,-5.695), (7.5,-5.75,8.5,-5.25), (9.75,-5.75,10.5,-5.25), (11,-5.75,11.5,-5.25), (2.5,-5.5,5.25,-5), (12.5,-5.5,14.75,-5), (3.25,-5,3.75,-4.25), (14.25,-5,14.75,-4.25), (2,-4,2.5,-3.5), (4.75,-3.25,13,-2.75)])
R(fd_dmod_2_3, via, [(2.675,-8.575,2.825,-8.425), (11.175,-8.575,11.325,-8.425), (16.675,-8.575,16.825,-8.425), (2.675,-6.075,2.825,-5.925), (16.675,-6.075,16.825,-5.925), (11.175,-5.575,11.325,-5.425), (4.925,-5.325,5.075,-5.175), (12.675,-5.325,12.825,-5.175), (4.925,-3.075,5.075,-2.925), (12.675,-3.075,12.825,-2.925)])
R(fd_dmod_2_3, met2, [(2.5,-8.75,3,-5.75), (11,-8.75,11.5,-5.25), (16.5,-8.75,17,-5.75), (4.75,-5.5,5.25,-2.75), (12.5,-5.5,13,-2.75)])
R(fd_dmod_2_3, nsdm, [(6.315,-7.03,6.68,-6.33), (8.1,-7.03,8.375,-6.33)])
R(fd_dmod_2_3, psdm, [(6.315,-5.63,6.68,-4.48), (8.1,-5.63,8.415,-4.48)])
fd_dmod_2_3.add(gdstk.Reference(sc_dff, (10.25,1)))
fd_dmod_2_3.add(gdstk.Reference(sc_nor2, (9,0)))
fd_dmod_2_3.add(gdstk.Reference(sc_nor2, (6.5,0)))
fd_dmod_2_3.add(gdstk.Reference(sc_not, (3.75,-2)))
fd_dmod_2_3.add(gdstk.Reference(sc_dff, (-0.75,1)))
fd_dmod_2_3.add(gdstk.Reference(sc_body_conn, (10.75,-8)))
fd_dmod_2_3.add(gdstk.Label('vdd', (2.25,-3.75), layer=68, texttype=5))
fd_dmod_2_3.add(gdstk.Label('vss', (2.25,-7.75), layer=68, texttype=5))
fd_dmod_2_3.add(gdstk.Label('vin', (6,-3), layer=68, texttype=5))
fd_dmod_2_3.add(gdstk.Label('di_mod_con', (8.75,-6.5), layer=68, texttype=5))
fd_dmod_2_3.add(gdstk.Label('vout', (15.75,-8.5), layer=68, texttype=5))

fd_div_5 = lib.new_cell('fd_div_5')
R(fd_div_5, met1_pin, [(3.5,-12.25,4,-11.75), (3.5,-8.25,4,-7.75), (8.75,-7.5,9.25,-7), (4.75,-6,5.25,-5.5), (4.75,-2,5.25,-1.5), (6.25,-1.25,6.75,-0.75)])
R(fd_div_5, met1, [(3.5,-12.25,4,-11.75), (2.75,-10.5,3.25,-10), (3.5,-10.5,6,-10), (9,-10.5,9.75,-10), (5.5,-9.75,6,-9.25), (3.5,-8.25,4,-7.75), (2.75,-7.5,9.75,-7), (5.5,-6.75,6,-6.25), (4.75,-6,5.25,-5.5), (9.25,-4.75,10,-4.25), (4.75,-2,5.25,-1.5), (6.25,-1.25,6.75,-0.75)])
R(fd_div_5, via, [(2.925,-10.325,3.075,-10.175), (9.425,-10.325,9.575,-10.175), (5.675,-9.575,5.825,-9.425), (2.925,-7.325,3.075,-7.175), (9.425,-7.325,9.575,-7.175), (5.675,-6.575,5.825,-6.425), (9.425,-4.575,9.575,-4.425)])
R(fd_div_5, met2, [(2.75,-10.5,3.25,-7), (9.25,-10.5,9.75,-4.25), (5.5,-9.75,6,-6.25)])
fd_div_5.add(gdstk.Reference(sc_dff, (2.75,-3.25)))
fd_div_5.add(gdstk.Reference(sc_not, (-0.25,-6.25)))
fd_div_5.add(gdstk.Reference(fd_dmod_2_3, (1,2)))
fd_div_5.add(gdstk.Reference(sc_body_conn, (5,-12.25)))
fd_div_5.add(gdstk.Label('vdd', (5,-1.75), layer=68, texttype=5))
fd_div_5.add(gdstk.Label('vdd', (3.75,-8), layer=68, texttype=5))
fd_div_5.add(gdstk.Label('vss', (5,-5.75), layer=68, texttype=5))
fd_div_5.add(gdstk.Label('vss', (3.75,-12), layer=68, texttype=5))
fd_div_5.add(gdstk.Label('vin', (6.5,-1), layer=68, texttype=5))
fd_div_5.add(gdstk.Label('vout', (9,-7.25), layer=68, texttype=5))

tl_output_div = lib.new_cell('tl_output_div')
R(tl_output_div, tap, [(-2.75,-9.25,53.25,-8.75), (-2.75,-8.75,-2.25,4.25), (52.75,-8.75,53.25,4.25), (-2.75,4.25,53.25,4.75)])
A(tl_output_div, licon, -1.865, -9.085, 0.17, 0.17, 160, 2, 0.34, 13.5)
A(tl_output_div, licon, -2.585, -8.455, 0.17, 0.17, 1, 37, 0, 0.34)
A(tl_output_div, licon, 52.915, -8.455, 0.17, 0.17, 1, 37, 0, 0.34)
R(tl_output_div, li1, [(-2.75,-9.25,53.25,-8.75), (-2.75,-8.75,-2.25,4.25), (52.75,-8.75,53.25,4.25), (-2.75,4.25,53.25,4.75)])
A(tl_output_div, mcon, -1.835, -9.085, 0.17, 0.17, 151, 2, 0.36, 13.5)
A(tl_output_div, mcon, -2.585, -8.455, 0.17, 0.17, 1, 35, 0, 0.36)
A(tl_output_div, mcon, 52.915, -8.455, 0.17, 0.17, 1, 35, 0, 0.36)
R(tl_output_div, met1_pin, [(1,-8,1.5,-7.5), (12,-5.5,12.5,-5), (32.5,-3.25,33,-2.75), (46,-3.25,46.5,-2.75), (1,2.25,1.5,2.75)])
R(tl_output_div, met1, [(-3,-9.5,53.5,-8.5), (-3,-8.5,-2,-8), (52.5,-8.5,53.5,-8), (-3,-8,2,-7.5), (49,-8,53.5,-7.5), (-3,-7.5,-2,-1.75), (52.5,-7.5,53.5,-1.75), (15,-6.25,15.5,-5.75), (24,-6.25,24.75,-5.5), (28.75,-6.25,31.25,-5.75), (31.5,-6.25,32.75,-5.75), (33,-6.25,33.5,-5.75), (40,-6.25,40.75,-5.5), (46.5,-6.25,47,-5.75), (10.25,-5.75,11.25,-5.5), (10.25,-5.5,12.5,-5), (24,-5.5,25.75,-5), (40,-5.5,43.5,-5), (10.25,-5,11.25,-4.75), (-1.5,-4,2,-3.5), (49,-4,50.5,-3.5), (7.75,-3.25,16.25,-2.75), (25,-3.25,33.5,-2.75), (41,-3.25,47,-2.75), (-3,-1.75,2,-1.25), (49,-1.75,53.5,-1.25), (-3,-1.25,-2,4), (52.5,-1.25,53.5,4), (-1.5,2.25,2,2.75), (49,2.25,50.5,2.75), (12.5,3,15.5,3.5), (15.75,3,21.25,3.5), (30.75,3,37.25,3.5), (-3,4,53.5,5)])
A(tl_output_div, via, 0.105, -7.825, 0.15, 0.15, 3, 2, 0.32, 6.25)
A(tl_output_div, via, 51.105, -7.825, 0.15, 0.15, 3, 2, 0.32, 6.25)
A(tl_output_div, via, 10.355, -5.645, 0.15, 0.15, 3, 3, 0.32, 0.32)
A(tl_output_div, via, -1.395, -3.825, 0.15, 0.15, 3, 2, 0.32, 6.25)
A(tl_output_div, via, 49.605, -3.825, 0.15, 0.15, 3, 2, 0.32, 6.25)
A(tl_output_div, via, 0.105, 4.105, 0.15, 0.15, 3, 3, 0.32, 0.32)
A(tl_output_div, via, 51.105, 4.105, 0.15, 0.15, 3, 3, 0.32, 0.32)
R(tl_output_div, via, [(15.175,-6.075,15.325,-5.925), (30.925,-6.075,31.075,-5.925), (33.175,-6.075,33.325,-5.925), (46.675,-6.075,46.825,-5.925), (15.925,-3.075,16.075,-2.925), (33.175,-3.075,33.325,-2.925), (46.675,-3.075,46.825,-2.925), (15.175,3.175,15.325,3.325), (15.925,3.175,16.075,3.325), (30.925,3.175,31.075,3.325)])
R(tl_output_div, met2, [(-1.5,-9.5,-0.5,5), (0,-9.5,1,5), (49.5,-9.5,50.5,5), (51,-9.5,52,5), (15,-6.25,15.5,3.5), (30.75,-6.25,31.25,3.5), (33,-6.25,33.5,-2.75), (46.5,-6.25,47,-0.75), (10.25,-5.75,11.25,-4.75), (15.75,-3.25,16.25,3.5)])
R(tl_output_div, via2, [(10.45,-5.55,10.65,-5.35), (10.85,-5.55,11.05,-5.35), (10.45,-5.15,10.65,-4.95), (10.85,-5.15,11.05,-4.95), (33.15,-3.55,33.35,-3.35), (33.15,-3.15,33.35,-2.95), (46.65,-1.55,46.85,-1.35), (46.65,-1.15,46.85,-0.95)])
R(tl_output_div, met3, [(2.25,-5.75,11.25,-4.75), (-3,-3.75,41,-2.75), (-3,-1.75,47,-0.75)])
R(tl_output_div, nsdm, [(32.1,-7.03,32.18,-6.33), (33.6,-7.03,33.68,-6.33), (9.695,-5.63,9.805,-4.48), (10.445,-5.63,10.555,-4.48), (16.695,-5.63,16.805,-4.48), (41.695,-5.63,41.805,-4.48), (48.195,-5.63,48.305,-4.48)])
R(tl_output_div, psdm, [(-2.875,-9.375,53.375,-8.625), (-2.875,-8.625,-2.125,4.125), (52.625,-8.625,53.375,4.125), (9.695,-7.255,9.805,-6.105), (10.445,-7.255,10.555,-6.105), (16.695,-7.255,16.805,-6.105), (41.695,-7.255,41.805,-6.105), (48.195,-7.255,48.305,-6.105), (32.1,-5.63,32.18,-4.48), (33.6,-5.63,33.68,-4.48), (-2.875,4.125,53.375,4.875)])
tl_output_div.add(gdstk.Reference(sc_not, (29.25,-2)))
tl_output_div.add(gdstk.Reference(sc_not, (27.75,-2)))
tl_output_div.add(gdstk.Reference(fd_div_2, (43.5,1.25)))
tl_output_div.add(gdstk.Reference(fd_div_5, (31,4.25)))
tl_output_div.add(gdstk.Reference(fd_div_2, (25.75,1.25)))
tl_output_div.add(gdstk.Reference(fd_div_5, (15,4.25)))
tl_output_div.add(gdstk.Reference(fd_div_2, (12,1.25)))
tl_output_div.add(gdstk.Reference(fd_div_5, (-1,4.25)))
tl_output_div.add(gdstk.Reference(sc_body_conn, (49,-8)))
tl_output_div.add(gdstk.Reference(sc_body_conn, (48.25,-8)))
tl_output_div.add(gdstk.Reference(sc_body_conn, (42.5,-8)))
tl_output_div.add(gdstk.Reference(sc_body_conn, (41.75,-8)))
tl_output_div.add(gdstk.Reference(sc_body_conn, (30.5,-8)))
tl_output_div.add(gdstk.Reference(sc_body_conn, (11.25,-8)))
tl_output_div.add(gdstk.Reference(sc_body_conn, (16.75,-8)))
tl_output_div.add(gdstk.Reference(sc_body_conn, (17.5,-8)))
tl_output_div.add(gdstk.Reference(sc_body_conn, (10.5,-8)))
tl_output_div.add(gdstk.Reference(sc_body_conn, (9.75,-8)))
tl_output_div.add(gdstk.Label('vdd', (1.25,2.5), layer=68, texttype=5))
tl_output_div.add(gdstk.Label('vss', (1.25,-7.75), layer=68, texttype=5))
tl_output_div.add(gdstk.Label('vin', (12.25,-5.25), layer=68, texttype=5))
tl_output_div.add(gdstk.Label('vout_hf', (32.75,-3), layer=68, texttype=5))
tl_output_div.add(gdstk.Label('vout_lf', (46.25,-3), layer=68, texttype=5))

lib.write_gds('tl_output_div.gds')
